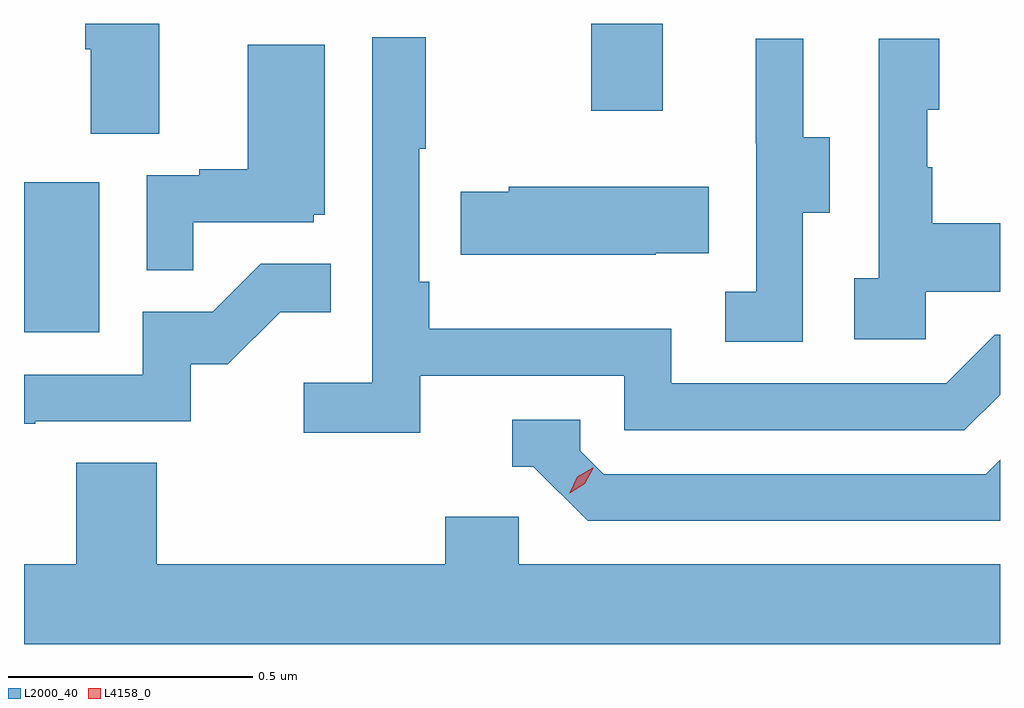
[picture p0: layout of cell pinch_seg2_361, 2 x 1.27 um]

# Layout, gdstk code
import gdstk
lib = gdstk.Library(unit=1e-6, precision=1e-09)
def R(c, l, rs):  # rectangles x0, y0, x1, y1
    for r in rs: c.add(gdstk.rectangle(r[:2], r[2:], *l))
def P(c, l, *ps):  # polygons
    for p in ps: c.add(gdstk.Polygon(p, *l))
L2000_40 = (2000, 40)
L4158_0 = (4158, 0)

pinch_seg2_361 = lib.new_cell('pinch_seg2_361')
R(pinch_seg2_361, L2000_40, [(964.308,629.628,964.462,629.935), (965.47,630.081,965.617,630.26)])
P(pinch_seg2_361, L2000_40, [(964.585,630.26),(964.433,630.26),(964.433,630.208),(964.445,630.208),(964.445,630.034),(964.585,630.034)],
  [(965.12,629.538),(965.538,629.538),(965.538,629.427),(966.235,629.427),(966.308,629.5),(966.308,629.622),(966.297,629.622),(966.198,629.523),(965.634,629.523),(965.634,629.635),(965.138,629.635),(965.138,629.731),(965.118,629.731),(965.118,630.004),(965.131,630.004),(965.131,630.232),(965.022,630.232),(965.022,629.524),(964.881,629.524),(964.881,629.422),(965.12,629.422)],
  [(966.156,629.711),(966.308,629.711),(966.308,629.851),(966.169,629.851),(966.169,629.966),(966.159,629.966),(966.159,630.084),(966.184,630.084),(966.184,630.229),(966.06,630.229),(966.06,629.738),(966.009,629.738),(966.009,629.613),(966.156,629.613)],
  [(965.904,629.872),(965.959,629.872),(965.959,630.027),(965.905,630.027),(965.905,630.229),(965.807,630.229),(965.807,630.015),(965.808,630.015),(965.808,629.711),(965.745,629.711),(965.745,629.608),(965.904,629.608)],
  [(964.655,629.853),(964.902,629.853),(964.902,629.868),(964.924,629.868),(964.924,630.217),(964.766,630.217),(964.766,629.962),(964.667,629.962),(964.667,629.949),(964.56,629.949),(964.56,629.755),(964.655,629.755)],
  [(965.603,629.789),(965.711,629.789),(965.711,629.926),(965.301,629.926),(965.301,629.916),(965.203,629.916),(965.203,629.786),(965.603,629.786)],
  [(964.331,629.445),(964.65,629.445),(964.65,629.562),(964.726,629.562),(964.833,629.669),(964.937,629.669),(964.937,629.768),(964.793,629.768),(964.695,629.67),(964.551,629.67),(964.551,629.541),(964.308,629.541),(964.308,629.44),(964.331,629.44)],
  [(966.308,629.366),(966.279,629.337),(965.496,629.337),(965.448,629.385),(965.448,629.448),(965.309,629.448),(965.309,629.352),(965.352,629.352),(965.463,629.241),(966.308,629.241)],
  [(965.171,629.25),(965.171,629.152),(964.58,629.152),(964.58,629.36),(964.415,629.36),(964.415,629.152),(964.308,629.152),(964.308,628.988),(966.308,628.988),(966.308,629.152),(965.322,629.152),(965.322,629.25)])
P(pinch_seg2_361, L4158_0, [(965.426,629.298),(965.426,629.299),(965.442,629.331),(965.473,629.35),(965.474,629.35),(965.474,629.349),(965.457,629.317),(965.426,629.298)])

lib.write_gds('pinch_seg2_361.gds')
